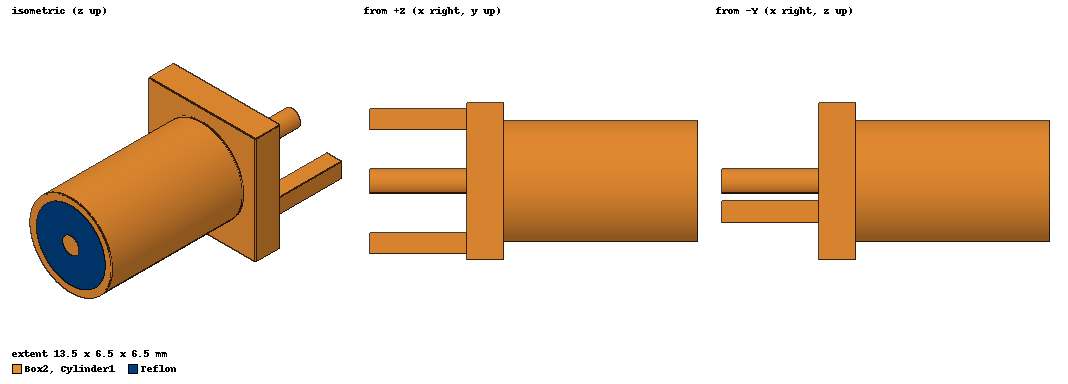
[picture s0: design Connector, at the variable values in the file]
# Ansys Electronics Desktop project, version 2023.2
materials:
  vacuum: permittivity=1
  Teflon (tm): permittivity=2.1 dielectric_loss_tangent=0.001
  brass: conductivity=15000000

design Connector (HFSS, HFSS Terminal Network, model units mm)
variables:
  Cx = -4mm
  Cy = 7.5mm
  Cz = 0.5mm
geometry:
  Cylinder1 [brass] = cylinder(axis=X, base_centre=(Cx, Cy, Cz), radius=0.5mm, height=13.5mm)
  Box2 [brass] = box(corner=(0mm, 4.25mm, (-3.25+0.5) mm), size=(1.5mm, 6.5mm, 6.5mm))
  Cylinder2 = cylinder(axis=X, base_centre=(Cx, Cy, Cz), radius=2.1mm, height=9.5mm)
  Box2.subtract(Cylinder2)
  Cylinder5 = cylinder(axis=X, base_centre=(Cx+5.5mm, Cy, Cz), radius=2.5mm, height=8mm)
  Cylinder6 = cylinder(axis=X, base_centre=(Cx, Cy, Cz), radius=2.1mm, height=15mm)
  Cylinder5.subtract(Cylinder6)
  Box2.unite(Cylinder5)
  Box1 = box(corner=(-4mm, 4.5mm, -1.2mm), size=(4mm, 0.9mm, 0.9mm))
  Box4 = box(corner=(-4mm, 9.6mm, -1.2mm), size=(4mm, 0.9mm, 0.9mm))
  Box2.unite(Box1, Box4)
  Teflon [Teflon (tm)] = cylinder(axis=X, base_centre=(Cx+4mm, Cy, Cz), radius=2.1mm, height=9.5mm)
  Cylinder4 = cylinder(axis=X, base_centre=(Cx, Cy, Cz), radius=0.5mm, height=14mm)
  Teflon.subtract(Cylinder4)
  group Connector = Cylinder1, Box2, Teflon
